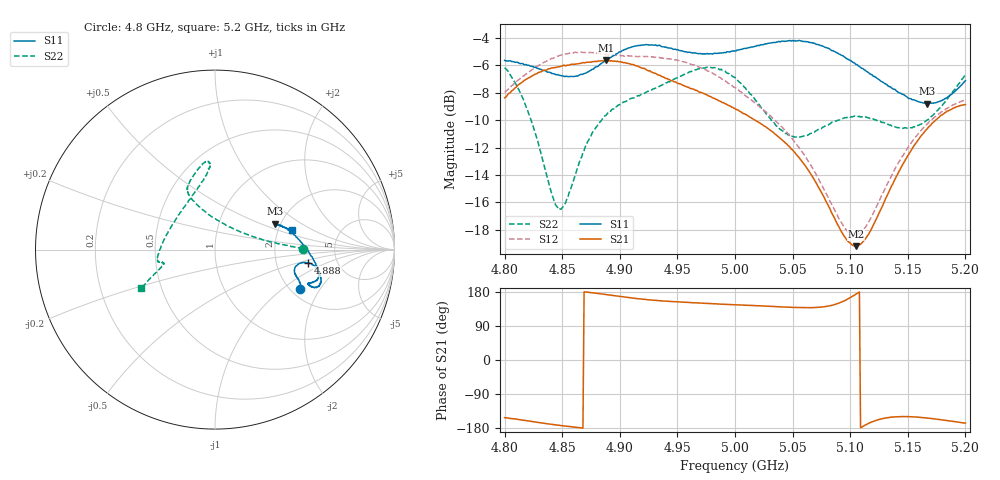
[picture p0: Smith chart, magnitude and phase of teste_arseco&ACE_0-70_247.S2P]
! Network Analyzer HP8722D
! Hewlett-Packard
! Data name: Linha & Wilkinson
! Saver's name: Rodrigo Anjos
! Comments: Teste da utilização de aquisição
! continua pelo VNA HP8722D
! Time and date: 8/5/2025 14:49
!  Frequency  S11  S21  S12  S22
# HZ  S  MA R 50
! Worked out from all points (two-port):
!   401 points, 4.8 GHz to 5.2 GHz, reference 50 ohm
!   highest |S21| = -5.63 dB at 4.888 GHz (marker M1); lowest = -19.2 dB at 5.105 GHz (marker M2)
!   |S21| within 3 dB of the highest: start of sweep to 4.987 GHz
!   lowest |S11| = -8.8 dB at 5.167 GHz (marker M3), VSWR 2.14, Z = 93.6 + j31 ohm
!   |S11| at or under -10 dB: nowhere
!   |S22| runs from -16.5 to -6.1 dB; largest |S21 - S12| = 1.1
!   S11 on the Smith chart (normalised r, x): 4.8 GHz: 2.24, -1.36; 4.888 GHz: 3.06, -0.62; 5.2 GHz: 2.36, +0.65
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4.8e9  0.523 -24.9  0.3816 -152.1  0.3997 7.3  0.4921 0.5
4.818e9  0.5049 -20.9  0.4441 -159.6  0.4641 4.7  0.3602 5.1
4.846e9  0.4641 -16.4  0.4951 -171.8  0.5415 0.2  0.1519 54.7
4.853e9  0.4574 -14.7  0.4991 -174.4  0.5519 -1.0  0.1582 80.5
4.867e9  0.465 -10.8  0.5113 -179.5  0.5594 -3.1  0.2325 107.3
4.877e9  0.4855 -8.7  0.5175 177.1  0.5581 -3.8  0.2885 113.3
4.888e9  0.5242 -8.0  0.5232 172.9  0.5494 -4.1  0.3294 115.1
4.911e9  0.5864 -11.5  0.5052 163.8  0.5418 -3.2  0.3808 113.6
4.934e9  0.5942 -16.8  0.4627 156.4  0.5369 -4.0  0.4198 107.7
4.975e9  0.5527 -20.0  0.3925 149.5  0.4832 -7.5  0.4932 95.4
5e9  0.5662 -20.9  0.3486 145.5  0.4163 -7.4  0.4528 94.6
5.015e9  0.5852 -21.0  0.3207 143.9  0.3718 -5.3  0.3871 100.3
5.042e9  0.6147 -19.1  0.2654 139.9  0.2949 0.4  0.288 129.6
5.067e9  0.6055 -14.3  0.1976 138.2  0.2127 8.4  0.2837 165.2
5.094e9  0.5423 -4.2  0.1208 155.0  0.1305 34.7  0.3215 -173.3
5.105e9  0.5054 1.0  0.1097 173.9  0.12 56.1  0.3256 -169.8
5.116e9  0.4714 6.7  0.1212 -167.3  0.1344 76.6  0.3226 -167.6
5.134e9  0.4194 15.4  0.1747 -151.4  0.1911 94.1  0.3037 -166.5
5.152e9  0.379 21.8  0.2419 -149.6  0.2577 99.0  0.2966 -164.5
5.167e9  0.364 23.2  0.2947 -153.2  0.3073 99.6  0.3171 -161.6
5.182e9  0.3786 20.9  0.3364 -159.0  0.3444 99.5  0.3668 -157.9
5.2e9  0.4412 14.5  0.3606 -166.7  0.3755 100.0  0.4635 -152.3
